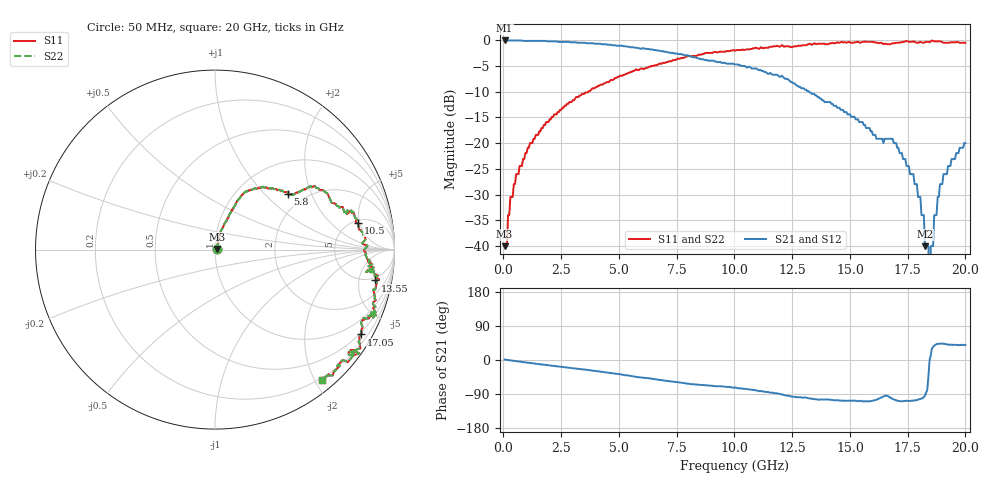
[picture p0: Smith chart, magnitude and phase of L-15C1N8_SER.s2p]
#	ghz	s	ma	r	50
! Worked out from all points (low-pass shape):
!   400 points, 50 MHz to 20 GHz, reference 50 ohm
!   highest |S21| = -0.09 dB at 50 MHz (marker M1); lowest = -40.0 dB at 18.25 GHz (marker M2)
!   |S21| within 3 dB of the highest: start of sweep to 8.046 GHz
!   lowest |S11| = -40.0 dB at 50 MHz (marker M3), VSWR 1.02, Z = 50.9 + j0.352 ohm
!   |S11| at or under -10 dB: start of sweep to 3.681 GHz
!   |S22| runs from -40.0 to -0.1 dB; largest |S21 - S12| = 0
!   S11 on the Smith chart (normalised r, x): 50 MHz: 1.02, +0.01; 5.8 GHz: 1.65, +1.38; 10.5 GHz: 5.44, +4.67; 13.55 GHz: 4.20, -8.41; 17.05 GHz: 0.45, -3.65; 20 GHz: 0.17, -2.11
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0.05  0.01 20.2  0.99 1.2  0.99 1.2  0.01 20.2
0.15  0.01 54.1  0.99 0.3  0.99 0.3  0.01 54.1
0.3  0.03 61.4  0.99 -0.9  0.99 -0.9  0.03 61.4
1.15  0.1 72.8  0.98 -7.9  0.98 -7.9  0.1 72.8
3.4  0.3 65.3  0.94 -24.5  0.94 -24.5  0.3 65.3
5.8  0.51 37.3  0.84 -45.1  0.84 -45.1  0.51 37.3
6.7  0.58 34.3  0.79 -51.9  0.79 -51.9  0.58 34.3
10.05  0.79 15.2  0.58 -72.7  0.58 -72.7  0.79 15.2
10.5  0.81 10.5  0.55 -76.5  0.55 -76.5  0.81 10.5
13.35  0.9 -9.3  0.3 -102.3  0.3 -102.3  0.9 -9.3
13.55  0.91 -10.9  0.29 -103.8  0.29 -103.8  0.91 -10.9
16.7  0.91 -26.4  0.11 -97.4  0.11 -97.4  0.91 -26.4
17.05  0.94 -30.2  0.09 -107.5  0.09 -107.5  0.94 -30.2
17.9  0.94 -37.7  0.04 -105.6  0.04 -105.6  0.94 -37.7
18.2  0.94 -36.5  0.02 -97.5  0.02 -97.5  0.94 -36.5
18.25  0.95 -36.1  0.01 -94.4  0.01 -94.4  0.95 -36.1
18.4  0.96 -36.7  0.01 -42.8  0.01 -42.8  0.96 -36.7
18.45  0.95 -36.2  0 -7.0  0 -7.0  0.95 -36.2
18.5  0.97 -35.9  0.01 11.7  0.01 11.7  0.97 -35.9
18.6  0.98 -36.6  0.01 34.2  0.01 34.2  0.98 -36.6
18.65  0.97 -37.5  0.02 38.1  0.02 38.1  0.97 -37.5
20  0.94 -50.5  0.1 39.6  0.1 39.6  0.94 -50.5
